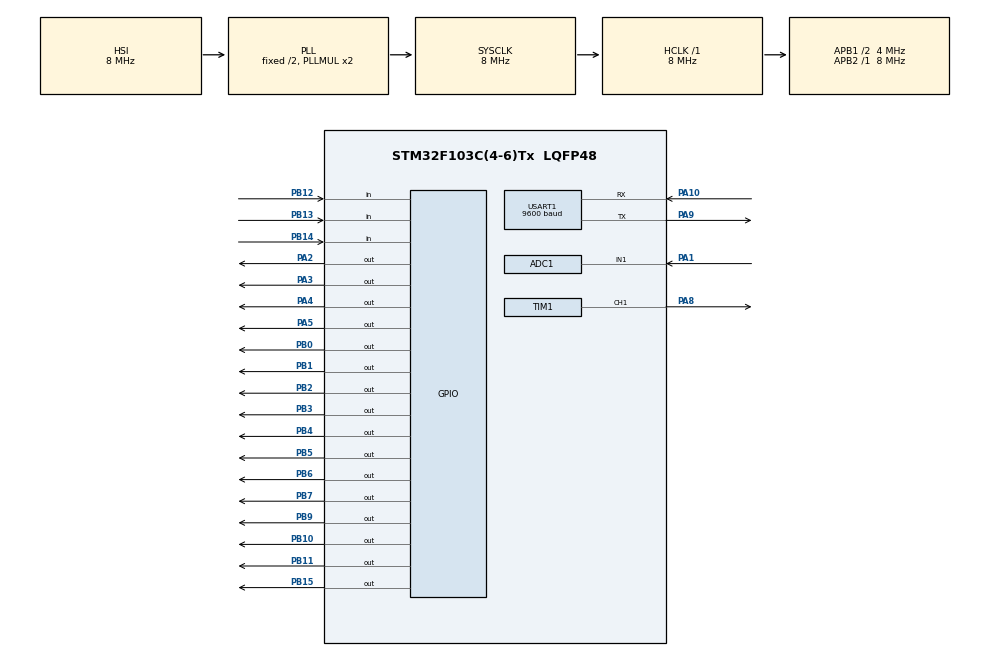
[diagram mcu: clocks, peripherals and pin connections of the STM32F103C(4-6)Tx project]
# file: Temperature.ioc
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ADC1.Channel-0\#ChannelRegularConversion=ADC_CHANNEL_1
ADC1.ContinuousConvMode=ENABLE
ADC1.NbrOfConversionFlag=1
ADC1.Rank-0\#ChannelRegularConversion=1
ADC1.SamplingTime-0\#ChannelRegularConversion=ADC_SAMPLETIME_1CYCLE_5
ADC1.master=1
Mcu.Family=STM32F1
Mcu.Name=STM32F103C(4-6)Tx
Mcu.Package=LQFP48
NVIC.PriorityGroup=NVIC_PRIORITYGROUP_4
PA1.Signal=ADCx_IN1
PA10.Mode=Asynchronous
PA10.Signal=USART1_RX
PA2.Signal=GPIO_Output
PA3.Signal=GPIO_Output
PA4.Signal=GPIO_Output
PA5.Signal=GPIO_Output
PA8.Signal=S_TIM1_CH1
PA9.Mode=Asynchronous
PA9.Signal=USART1_TX
PB0.Signal=GPIO_Output
PB1.Signal=GPIO_Output
PB10.Signal=GPIO_Output
PB11.Signal=GPIO_Output
PB12.Signal=GPIO_Input
PB13.Signal=GPIO_Input
PB14.Signal=GPIO_Input
PB15.Signal=GPIO_Output
PB2.Signal=GPIO_Output
PB3.Signal=GPIO_Output
PB4.Signal=GPIO_Output
PB5.Signal=GPIO_Output
PB6.Signal=GPIO_Output
PB7.Signal=GPIO_Output
PB9.Signal=GPIO_Output
ProjectManager.HeapSize=0x200
ProjectManager.StackSize=0x400
ProjectManager.TargetToolchain=MDK-ARM V5.32
RCC.ADCPresc=RCC_ADCPCLK2_DIV6
RCC.AHBFreq_Value=8000000
RCC.APB1CLKDivider=RCC_HCLK_DIV2
RCC.APB1Freq_Value=4000000
RCC.APB1TimFreq_Value=8000000
RCC.APB2Freq_Value=8000000
RCC.APB2TimFreq_Value=8000000
RCC.HCLKFreq_Value=8000000
RCC.SYSCLKFreq_VALUE=8000000
RCC.SYSCLKSource=RCC_SYSCLKSOURCE_PLLCLK
RCC.USBFreq_Value=8000000
SH.ADCx_IN1.0=ADC1_IN1,IN1
SH.S_TIM1_CH1.0=TIM1_CH1,PWM Generation1 CH1
TIM1.Channel-PWM\ Generation1\ CH1=TIM_CHANNEL_1
TIM1.Period=65535
USART1.BaudRate=9600
USART1.VirtualMode=VM_ASYNC
VP_SYS_VS_ND.Mode=No_Debug
board=custom

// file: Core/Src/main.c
/* USER CODE BEGIN Header */
/**
  ******************************************************************************
  * @file           : main.c
  * @brief          : Main program body
  ******************************************************************************
  * @attention
  *
  * Copyright (c) 2022 STMicroelectronics.
  * All rights reserved.
  *
  * This software is licensed under terms that can be found in the LICENSE file
  * in the root directory of this software component.
  * If no LICENSE file comes with this software, it is provided AS-IS.
  *
  ******************************************************************************
  */
/* USER CODE END Header */
#include "main.h"
#include "character_lcd.h"
#include "stdio.h"

 ADC_HandleTypeDef hadc1;

TIM_HandleTypeDef htim1;

UART_HandleTypeDef huart1;

void SystemClock_Config(void);
static void MX_GPIO_Init(void);
static void MX_ADC1_Init(void);
static void MX_TIM1_Init(void);
static void MX_USART1_UART_Init(void);
/* USER CODE BEGIN PFP */

uint8_t keypad_scan(void);

/* USER CODE END PFP */

int main(void)
{

  /* MCU Configuration--------------------------------------------------------*/

  /* Reset of all peripherals, Initializes the Flash interface and the Systick. */
  HAL_Init();

  /* Configure the system clock */
  SystemClock_Config();

  /* Initialize all configured peripherals */
  MX_GPIO_Init();
  MX_ADC1_Init();
  MX_TIM1_Init();
  MX_USART1_UART_Init();
  /* USER CODE BEGIN 2 */

	//LCD initialization and settings
	LCD_Config.Font = _FONT_5X7;
  LCD_Config.Mode = _8BIT_INTERFACE;
  LCD_Config.NumberOfLine = _2LINE_DISPLAY;
	LCD_Init();
  /* USER CODE END 2 */

	uint16_t ADC_Value; uint8_t temperature;
	char temp[10] = {0};

	uint8_t key_num; //keypad entered number
	int i = 0; //index of phone array
	char phone[12] = {0};

	uint16_t timer_val;
  HAL_TIM_Base_Start(&htim1);
	// timer catches time
	timer_val = __HAL_TIM_GET_COUNTER(&htim1);
  /* Infinite loop */
  /* USER CODE BEGIN WHILE */
	while(i < 10){
		key_num = keypad_scan();

		// get phone number
		if(key_num != 255)
		{
			phone[i++] = key_num + '0';
			LCD_GotoXY(0, 0);
			LCD_PutString(phone);
			HAL_Delay(300);
		}
	}
	LCD_Clear();

  while (1)
  {
			//get the temperature value from sensor and use adc
			HAL_ADC_Start(&hadc1);
			HAL_ADC_PollForConversion(&hadc1, HAL_MAX_DELAY);

			ADC_Value = HAL_ADC_GetValue(&hadc1);
			temperature = (float)(ADC_Value * 3.3 * 100) / (4095);
			HAL_UART_Transmit(&huart1,&temperature,1,100);

			//temperature = 35;
			//send temp to LCD
			sprintf(temp, "%d", temperature);
			LCD_GotoXY(0, 0);
			LCD_PutString(temp);

			if (temperature > 30 && temperature < 40)
			{
				// If enough time has passed (5 seconds), toggle LED and get new timestamp
				if (__HAL_TIM_GET_COUNTER(&htim1) - timer_val >= 50000)
				{
					HAL_GPIO_TogglePin(GPIOB, GPIO_PIN_15);
					timer_val = __HAL_TIM_GET_COUNTER(&htim1);
				}

				if (__HAL_TIM_GET_COUNTER(&htim1) - timer_val >= 90000){
					LCD_GotoXY(0, 1);
					LCD_PutString("msg");
					LCD_GotoXY(4, 1);
					LCD_PutString(phone);
				}

			}
			else{
				if (temperature > 40 && temperature < 60)
				{
					if (__HAL_TIM_GET_COUNTER(&htim1) - timer_val >= 30000)
					{
						HAL_GPIO_TogglePin(GPIOB, GPIO_PIN_15);
						timer_val = __HAL_TIM_GET_COUNTER(&htim1);
					}

					if (__HAL_TIM_GET_COUNTER(&htim1) - timer_val >= 50000){
					LCD_GotoXY(0, 1);
					LCD_PutString("msg");
					LCD_GotoXY(4, 1);
					LCD_PutString(phone);
					}
				}
				else {
					if (__HAL_TIM_GET_COUNTER(&htim1) - timer_val >= 10000)
					{
						HAL_GPIO_TogglePin(GPIOB, GPIO_PIN_15);
						timer_val = __HAL_TIM_GET_COUNTER(&htim1);
					}

					if (__HAL_TIM_GET_COUNTER(&htim1) - timer_val >= 20000){
						LCD_GotoXY(0, 1);
						LCD_PutString("msg");
						LCD_GotoXY(4, 1);
						LCD_PutString(phone);
					}
				}

			}

    /* USER CODE END WHILE */

    /* USER CODE END WHILE */

  }
}

//pin A2,A3,A4,A5 for row input
//pin B12,B13,B14 for column input
uint8_t keypad_scan() {
	uint8_t result = 255;

	//first row
	HAL_GPIO_WritePin(GPIOA, GPIO_PIN_2, (GPIO_PinState)1);
	HAL_GPIO_WritePin(GPIOA, GPIO_PIN_3, (GPIO_PinState)0);
	HAL_GPIO_WritePin(GPIOA, GPIO_PIN_4, (GPIO_PinState)0);
	HAL_GPIO_WritePin(GPIOA, GPIO_PIN_5, (GPIO_PinState)0);

	if (HAL_GPIO_ReadPin(GPIOB, GPIO_PIN_12))
		result = 1;
	else if (HAL_GPIO_ReadPin(GPIOB, GPIO_PIN_13))
		result = 2;
	else if (HAL_GPIO_ReadPin(GPIOB, GPIO_PIN_14))
		result = 3;

	//second row
	HAL_GPIO_WritePin(GPIOA, GPIO_PIN_2, (GPIO_PinState)0);
	HAL_GPIO_WritePin(GPIOA, GPIO_PIN_3, (GPIO_PinState)1);
	HAL_GPIO_WritePin(GPIOA, GPIO_PIN_4, (GPIO_PinState)0);
	HAL_GPIO_WritePin(GPIOA, GPIO_PIN_5, (GPIO_PinState)0);

	if (HAL_GPIO_ReadPin(GPIOB, GPIO_PIN_12))
		result = 4;
	else if (HAL_GPIO_ReadPin(GPIOB, GPIO_PIN_13))
		result = 5;
	else if (HAL_GPIO_ReadPin(GPIOB, GPIO_PIN_14))
		result = 6;

	//third row
	HAL_GPIO_WritePin(GPIOA, GPIO_PIN_2, (GPIO_PinState)0);
	HAL_GPIO_WritePin(GPIOA, GPIO_PIN_3, (GPIO_PinState)0);
	HAL_GPIO_WritePin(GPIOA, GPIO_PIN_4, (GPIO_PinState)1);
	HAL_GPIO_WritePin(GPIOA, GPIO_PIN_5, (GPIO_PinState)0);

	if (HAL_GPIO_ReadPin(GPIOB, GPIO_PIN_12))
		result = 7;
	else if (HAL_GPIO_ReadPin(GPIOB, GPIO_PIN_13))
		result = 8;
	else if (HAL_GPIO_ReadPin(GPIOB, GPIO_PIN_14))
		result = 9;

	//forth row
	HAL_GPIO_WritePin(GPIOA, GPIO_PIN_2, (GPIO_PinState)0);
	HAL_GPIO_WritePin(GPIOA, GPIO_PIN_3, (GPIO_PinState)0);
	HAL_GPIO_WritePin(GPIOA, GPIO_PIN_4, (GPIO_PinState)0);
	HAL_GPIO_WritePin(GPIOA, GPIO_PIN_5, (GPIO_PinState)1);

	if (HAL_GPIO_ReadPin(GPIOB, GPIO_PIN_12)) {
		result = 255;
	}

	else if (HAL_GPIO_ReadPin(GPIOB, GPIO_PIN_13))
		result = 0;
	else if (HAL_GPIO_ReadPin(GPIOB, GPIO_PIN_14))
		result = 255;

	return result;
}

void SystemClock_Config(void)
{
  RCC_OscInitTypeDef RCC_OscInitStruct = {0};
  RCC_ClkInitTypeDef RCC_ClkInitStruct = {0};
  RCC_PeriphCLKInitTypeDef PeriphClkInit = {0};

  /** Initializes the RCC Oscillators according to the specified parameters
  * in the RCC_OscInitTypeDef structure.
  */
  RCC_OscInitStruct.OscillatorType = RCC_OSCILLATORTYPE_HSI;
  RCC_OscInitStruct.HSIState = RCC_HSI_ON;
  RCC_OscInitStruct.HSICalibrationValue = RCC_HSICALIBRATION_DEFAULT;
  RCC_OscInitStruct.PLL.PLLState = RCC_PLL_ON;
  RCC_OscInitStruct.PLL.PLLSource = RCC_PLLSOURCE_HSI_DIV2;
  RCC_OscInitStruct.PLL.PLLMUL = RCC_PLL_MUL2;
  if (HAL_RCC_OscConfig(&RCC_OscInitStruct) != HAL_OK)
  {
    Error_Handler();
  }

  /** Initializes the CPU, AHB and APB buses clocks
  */
  RCC_ClkInitStruct.ClockType = RCC_CLOCKTYPE_HCLK|RCC_CLOCKTYPE_SYSCLK
                              |RCC_CLOCKTYPE_PCLK1|RCC_CLOCKTYPE_PCLK2;
  RCC_ClkInitStruct.SYSCLKSource = RCC_SYSCLKSOURCE_PLLCLK;
  RCC_ClkInitStruct.AHBCLKDivider = RCC_SYSCLK_DIV1;
  RCC_ClkInitStruct.APB1CLKDivider = RCC_HCLK_DIV2;
  RCC_ClkInitStruct.APB2CLKDivider = RCC_HCLK_DIV1;

  if (HAL_RCC_ClockConfig(&RCC_ClkInitStruct, FLASH_LATENCY_0) != HAL_OK)
  {
    Error_Handler();
  }
  PeriphClkInit.PeriphClockSelection = RCC_PERIPHCLK_ADC;
  PeriphClkInit.AdcClockSelection = RCC_ADCPCLK2_DIV6;
  if (HAL_RCCEx_PeriphCLKConfig(&PeriphClkInit) != HAL_OK)
  {
    Error_Handler();
  }
}

static void MX_ADC1_Init(void)
{

  ADC_ChannelConfTypeDef sConfig = {0};

  /** Common config
  */
  hadc1.Instance = ADC1;
  hadc1.Init.ScanConvMode = ADC_SCAN_DISABLE;
  hadc1.Init.ContinuousConvMode = ENABLE;
  hadc1.Init.DiscontinuousConvMode = DISABLE;
  hadc1.Init.ExternalTrigConv = ADC_SOFTWARE_START;
  hadc1.Init.DataAlign = ADC_DATAALIGN_RIGHT;
  hadc1.Init.NbrOfConversion = 1;
  if (HAL_ADC_Init(&hadc1) != HAL_OK)
  {
    Error_Handler();
  }

  /** Configure Regular Channel
  */
  sConfig.Channel = ADC_CHANNEL_1;
  sConfig.Rank = ADC_REGULAR_RANK_1;
  sConfig.SamplingTime = ADC_SAMPLETIME_1CYCLE_5;
  if (HAL_ADC_ConfigChannel(&hadc1, &sConfig) != HAL_OK)
  {
    Error_Handler();
  }

}

static void MX_TIM1_Init(void)
{

  TIM_MasterConfigTypeDef sMasterConfig = {0};
  TIM_OC_InitTypeDef sConfigOC = {0};
  TIM_BreakDeadTimeConfigTypeDef sBreakDeadTimeConfig = {0};

  htim1.Instance = TIM1;
  htim1.Init.Prescaler = 0;
  htim1.Init.CounterMode = TIM_COUNTERMODE_UP;
  htim1.Init.Period = 65535;
  htim1.Init.ClockDivision = TIM_CLOCKDIVISION_DIV1;
  htim1.Init.RepetitionCounter = 0;
  htim1.Init.AutoReloadPreload = TIM_AUTORELOAD_PRELOAD_DISABLE;
  if (HAL_TIM_PWM_Init(&htim1) != HAL_OK)
  {
    Error_Handler();
  }
  sMasterConfig.MasterOutputTrigger = TIM_TRGO_RESET;
  sMasterConfig.MasterSlaveMode = TIM_MASTERSLAVEMODE_DISABLE;
  if (HAL_TIMEx_MasterConfigSynchronization(&htim1, &sMasterConfig) != HAL_OK)
  {
    Error_Handler();
  }
  sConfigOC.OCMode = TIM_OCMODE_PWM1;
  sConfigOC.Pulse = 0;
  sConfigOC.OCPolarity = TIM_OCPOLARITY_HIGH;
  sConfigOC.OCNPolarity = TIM_OCNPOLARITY_HIGH;
  sConfigOC.OCFastMode = TIM_OCFAST_DISABLE;
  sConfigOC.OCIdleState = TIM_OCIDLESTATE_RESET;
  sConfigOC.OCNIdleState = TIM_OCNIDLESTATE_RESET;
  if (HAL_TIM_PWM_ConfigChannel(&htim1, &sConfigOC, TIM_CHANNEL_1) != HAL_OK)
  {
    Error_Handler();
  }
  sBreakDeadTimeConfig.OffStateRunMode = TIM_OSSR_DISABLE;
  sBreakDeadTimeConfig.OffStateIDLEMode = TIM_OSSI_DISABLE;
  sBreakDeadTimeConfig.LockLevel = TIM_LOCKLEVEL_OFF;
  sBreakDeadTimeConfig.DeadTime = 0;
  sBreakDeadTimeConfig.BreakState = TIM_BREAK_DISABLE;
  sBreakDeadTimeConfig.BreakPolarity = TIM_BREAKPOLARITY_HIGH;
  sBreakDeadTimeConfig.AutomaticOutput = TIM_AUTOMATICOUTPUT_DISABLE;
  if (HAL_TIMEx_ConfigBreakDeadTime(&htim1, &sBreakDeadTimeConfig) != HAL_OK)
  {
    Error_Handler();
  }
  HAL_TIM_MspPostInit(&htim1);

}

static void MX_USART1_UART_Init(void)
{

  huart1.Instance = USART1;
  huart1.Init.BaudRate = 9600;
  huart1.Init.WordLength = UART_WORDLENGTH_8B;
  huart1.Init.StopBits = UART_STOPBITS_1;
  huart1.Init.Parity = UART_PARITY_NONE;
  huart1.Init.Mode = UART_MODE_TX_RX;
  huart1.Init.HwFlowCtl = UART_HWCONTROL_NONE;
  huart1.Init.OverSampling = UART_OVERSAMPLING_16;
  if (HAL_UART_Init(&huart1) != HAL_OK)
  {
    Error_Handler();
  }

}

static void MX_GPIO_Init(void)
{
  GPIO_InitTypeDef GPIO_InitStruct = {0};

  /* GPIO Ports Clock Enable */
  __HAL_RCC_GPIOA_CLK_ENABLE();
  __HAL_RCC_GPIOB_CLK_ENABLE();

  /*Configure GPIO pin Output Level */
  HAL_GPIO_WritePin(GPIOA, GPIO_PIN_2|GPIO_PIN_3|GPIO_PIN_4|GPIO_PIN_5, GPIO_PIN_RESET);

  /*Configure GPIO pin Output Level */
  HAL_GPIO_WritePin(GPIOB, GPIO_PIN_0|GPIO_PIN_1|GPIO_PIN_2|GPIO_PIN_10
                          |GPIO_PIN_11|GPIO_PIN_15|GPIO_PIN_3|GPIO_PIN_4
                          |GPIO_PIN_5|GPIO_PIN_6|GPIO_PIN_7|GPIO_PIN_9, GPIO_PIN_RESET);

  /*Configure GPIO pins : PA2 PA3 PA4 PA5 */
  GPIO_InitStruct.Pin = GPIO_PIN_2|GPIO_PIN_3|GPIO_PIN_4|GPIO_PIN_5;
  GPIO_InitStruct.Mode = GPIO_MODE_OUTPUT_PP;
  GPIO_InitStruct.Pull = GPIO_NOPULL;
  GPIO_InitStruct.Speed = GPIO_SPEED_FREQ_LOW;
  HAL_GPIO_Init(GPIOA, &GPIO_InitStruct);

  /*Configure GPIO pins : PB0 PB1 PB2 PB10
                           PB11 PB15 PB3 PB4
                           PB5 PB6 PB7 PB9 */
  GPIO_InitStruct.Pin = GPIO_PIN_0|GPIO_PIN_1|GPIO_PIN_2|GPIO_PIN_10
                          |GPIO_PIN_11|GPIO_PIN_15|GPIO_PIN_3|GPIO_PIN_4
                          |GPIO_PIN_5|GPIO_PIN_6|GPIO_PIN_7|GPIO_PIN_9;
  GPIO_InitStruct.Mode = GPIO_MODE_OUTPUT_PP;
  GPIO_InitStruct.Pull = GPIO_NOPULL;
  GPIO_InitStruct.Speed = GPIO_SPEED_FREQ_LOW;
  HAL_GPIO_Init(GPIOB, &GPIO_InitStruct);

  /*Configure GPIO pins : PB12 PB13 PB14 */
  GPIO_InitStruct.Pin = GPIO_PIN_12|GPIO_PIN_13|GPIO_PIN_14;
  GPIO_InitStruct.Mode = GPIO_MODE_INPUT;
  GPIO_InitStruct.Pull = GPIO_NOPULL;
  HAL_GPIO_Init(GPIOB, &GPIO_InitStruct);

}

void Error_Handler(void)
{
  __disable_irq();
  while (1)
  {
  }
}
